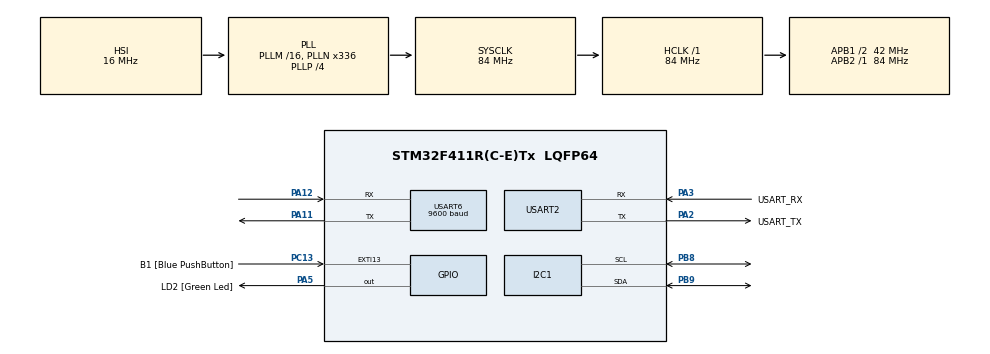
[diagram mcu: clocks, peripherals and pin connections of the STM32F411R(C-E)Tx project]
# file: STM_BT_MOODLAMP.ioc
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Mcu.Family=STM32F4
Mcu.Name=STM32F411R(C-E)Tx
Mcu.Package=LQFP64
NVIC.PriorityGroup=NVIC_PRIORITYGROUP_0
NVIC.TIM1_UP_TIM10_IRQn=true\:0\:0\:false\:false\:true\:true\:true\:true
NVIC.USART2_IRQn=true\:0\:0\:false\:false\:true\:true\:true\:true
NVIC.USART6_IRQn=true\:0\:0\:false\:false\:true\:true\:true\:true
PA11.Mode=Asynchronous
PA11.Signal=USART6_TX
PA12.Mode=Asynchronous
PA12.Signal=USART6_RX
PA13.GPIO_Label=TMS
PA13.Mode=Serial_Wire
PA13.Signal=SYS_JTMS-SWDIO
PA14.GPIO_Label=TCK
PA14.Mode=Serial_Wire
PA14.Signal=SYS_JTCK-SWCLK
PA2.GPIO_Label=USART_TX
PA2.Mode=Asynchronous
PA2.Signal=USART2_TX
PA3.GPIO_Label=USART_RX
PA3.Mode=Asynchronous
PA3.Signal=USART2_RX
PA5.GPIO_Label=LD2 [Green Led]
PA5.Signal=GPIO_Output
PB3.GPIO_Label=SWO
PB3.Signal=SYS_JTDO-SWO
PB8.Mode=I2C
PB8.Signal=I2C1_SCL
PB9.Mode=I2C
PB9.Signal=I2C1_SDA
PC13-ANTI_TAMP.GPIO_Label=B1 [Blue PushButton]
PC13-ANTI_TAMP.GPIO_ModeDefaultEXTI=GPIO_MODE_IT_FALLING
PC13-ANTI_TAMP.Signal=GPXTI13
PC14-OSC32_IN.Mode=LSE-External-Oscillator
PC14-OSC32_IN.Signal=RCC_OSC32_IN
PC15-OSC32_OUT.Mode=LSE-External-Oscillator
PC15-OSC32_OUT.Signal=RCC_OSC32_OUT
PH0\ -\ OSC_IN.Mode=HSE-External-Clock-Source
PH0\ -\ OSC_IN.Signal=RCC_OSC_IN
PH1\ -\ OSC_OUT.Mode=HSE-External-Clock-Source
PH1\ -\ OSC_OUT.Signal=RCC_OSC_OUT
ProjectManager.HeapSize=0x200
ProjectManager.StackSize=0x400
ProjectManager.TargetToolchain=STM32CubeIDE
RCC.48MHZClocksFreq_Value=84000000
RCC.AHBFreq_Value=84000000
RCC.APB1CLKDivider=RCC_HCLK_DIV2
RCC.APB1Freq_Value=42000000
RCC.APB1TimFreq_Value=84000000
RCC.APB2Freq_Value=84000000
RCC.APB2TimFreq_Value=84000000
RCC.CortexFreq_Value=84000000
RCC.FLatency-AdvancedSettings=FLASH_LATENCY_2
RCC.HCLKFreq_Value=84000000
RCC.HSE_VALUE=8000000
RCC.HSI_VALUE=16000000
RCC.PLLN=336
RCC.PLLP=RCC_PLLP_DIV4
RCC.SYSCLKFreq_VALUE=84000000
RCC.SYSCLKSource=RCC_SYSCLKSOURCE_PLLCLK
RCC.VCOOutputFreq_Value=336000000
TIM1.Period=9999
TIM1.Prescaler=8399
USART2.VirtualMode=VM_ASYNC
USART6.BaudRate=9600
USART6.VirtualMode=VM_ASYNC
VP_RTC_VS_RTC_Activate.Mode=RTC_Enabled
VP_TIM1_VS_ClockSourceINT.Mode=Internal
board=NUCLEO-F411RE

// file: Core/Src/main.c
/* USER CODE BEGIN Header */
/**
  ******************************************************************************
  * @file           : main.c
  * @brief          : Main program body
  ******************************************************************************
  * @attention
  *
  * Copyright (c) 2025 STMicroelectronics.
  * All rights reserved.
  *
  * This software is licensed under terms that can be found in the LICENSE file
  * in the root directory of this software component.
  * If no LICENSE file comes with this software, it is provided AS-IS.
  *
  ******************************************************************************
  */
/* USER CODE END Header */
#include "main.h"
#include "i2c.h"
#include "rtc.h"
#include "tim.h"
#include "usart.h"
#include "gpio.h"

/* USER CODE BEGIN Includes */
#include "my_1602.h"
#include <stdio.h>
#include <string.h>
#include "stdlib.h"
/* USER CODE END Includes */

/* USER CODE BEGIN PD */
#ifdef __GNUC__
/* With GCC, small printf (option LD Linker->Libraries->Small printf
   set to 'Yes') calls __io_putchar() */
#define PUTCHAR_PROTOTYPE int __io_putchar(int ch)
#else
#define PUTCHAR_PROTOTYPE int fputc(int ch, FILE *f)
#endif /* __GNUC__ */
#define ARR_CNT 7
#define CMD_SIZE 50
#define GETWEATHER 60//1분에 한번 GETWEATHER 송신
#define GETTIME 60 // 1분에 한번 GETTIME 송신
#define LCDTEXTSUN 5
#define LCDTEXTTIME 2
#define LCDTEXTOTHER 1
#define LCDTEMP_WEATH (LCDTEXTSUN + LCDTEXTTIME + LCDTEXTTIME + LCDTEXTOTHER + LCDTEXTOTHER)
#define LCDTEMP_WEATH_VALUE (LCDTEMP_WEATH + 2)

#define GETSUNFLAG  (1 << 0)
#define WEATHERFLAG (1 << 1)
#define GETTIMEFLAG (1 << 2)

#define TEMPFLAG1  	(1 << 3)
#define TEMPFLAG2 	(1 << 4)
#define TEMPFLAG3 	(1 << 5)
#define TEMPFLAG4  	(1 << 6)
#define TEMPFLAG5	(1 << 7)

#define ADDFLAG(b,a)   (b |= (a))   // 플래그 set
#define CLEARFLAG(b,a) (b &= ~(a))  // 플래그 clear
#define CHECKFLAG(b,a) (b & (a))    // 플래그 확인

/* USER CODE END PD */

/* USER CODE BEGIN PV */
uint8_t rx2char;
volatile unsigned char rx2Flag = 0;
volatile char rx2Data[50];
volatile unsigned char btFlag = 0;
uint8_t btchar;
char btData[50];
volatile uint16_t weatherCounter = 0;
volatile uint16_t timeCounter =0;
uint8_t sunSentToday = 0; // 0: GETSUN 안보냄, 1: 이미 보냄
volatile uint8_t sunsetTime = -1;
volatile uint8_t sunsetMin = -1;
volatile uint8_t sunriseTime = -1;
volatile uint8_t sunriseMin = -1;
volatile uint8_t flag = 0;
RTC_TimeTypeDef sTime;
/* USER CODE END PV */

void SystemClock_Config(void);
/* USER CODE BEGIN PFP */
void bluetooth_Event();
/* USER CODE END PFP */

/* USER CODE BEGIN 0 */
// --------------------------- Custom Char Start
uint8_t rainChar[8] = {
	0b00100,
	0b00100,
	0b01010,
	0b01010,
	0b10001,
	0b10001,
	0b01110,
	0b00000
};

uint8_t snowChar[8] = {
  0b00000,
  0b00100,
  0b10101,
  0b01110,
  0b10101,
  0b00100,
  0b00000,
  0b00000
};

uint8_t cloudChar[8] = {
  0b00000,
  0b00000,
  0b00110,
  0b11111,
  0b11111,
  0b01110,
  0b00000,
  0b00000
};

uint8_t fogChar[8] = {
  0b00000,
  0b11111,
  0b00000,
  0b11111,
  0b00000,
  0b11111,
  0b00000,
  0b00000
};

uint8_t sunChar[8] = {
  0b00100,
  0b10101,
  0b01110,
  0b11111,
  0b01110,
  0b10101,
  0b00100,
  0b00000
};
uint8_t moonChar[8] = {
  0b00110,
  0b01100,
  0b01100,
  0b01100,
  0b01100,
  0b00110,
  0b00000,
  0b00000
};
// ---------------------------- Custom Char End
/* USER CODE END 0 */

int main(void)
{

  /* MCU Configuration--------------------------------------------------------*/

  /* Reset of all peripherals, Initializes the Flash interface and the Systick. */
  HAL_Init();

  /* Configure the system clock */
  SystemClock_Config();

  /* Initialize all configured peripherals */
  MX_GPIO_Init();
  MX_USART2_UART_Init();
  MX_USART6_UART_Init();
  MX_I2C1_Init();
  MX_TIM1_Init();
  MX_RTC_Init();
  /* USER CODE BEGIN 2 */
  HAL_UART_Receive_IT(&huart2, &rx2char,1);
  HAL_UART_Receive_IT(&huart6, &btchar,1);
  printf("start main2()\r\n");
  HAL_TIM_Base_Start_IT(&htim1);
  // -------------------------------------------LCD INIT START
  HAL_Delay(1000); // imsi
  lcd_init(&hi2c1);
  HAL_Delay(1000);
  lcd_create_char(0, sunChar);
  lcd_create_char(1, cloudChar);
  lcd_create_char(2, fogChar);
  lcd_create_char(3, rainChar);
  lcd_create_char(4, snowChar);
  lcd_create_char(5, moonChar);

  lcd_set_cursor(0,0);
  lcd_send_string("Rise:");
  lcd_set_cursor(1, 0);
  lcd_send_string("set :");

  ADDFLAG(flag, WEATHERFLAG);
  ADDFLAG(flag, GETSUNFLAG);

  char sendBuf[CMD_SIZE]={0};
  sprintf(sendBuf,"[LDH_SUN]GETTIME\n");
  HAL_UART_Transmit(&huart6, (uint8_t *)sendBuf, strlen(sendBuf), 0xFFFF);
  HAL_Delay(100);
  // -------------------------------------------LCD INIT END

  /* USER CODE END 2 */

  /* Infinite loop */
  while (1)
  {

    /* USER CODE BEGIN 3 */
	 /*
	 for(int i =0 ; i < 6; i++)
	  {
		  lcd_set_cursor(0, 0);
		  lcd_replace_char(0,0,1,i);
		  HAL_Delay(1000);

	  }
	  */
	  if(rx2Flag)
	  {
			printf("recv2 : %s\r\n",rx2Data);
			rx2Flag =0;
	//	    HAL_UART_Transmit(&huart6, (uint8_t *)buf, strlen(buf), 0xFFFF);
	  }
	  if(btFlag)
	  {
//		printf("bt : %s\r\n",btData);
			btFlag =0;
			bluetooth_Event();
	  }

	  if(CHECKFLAG(flag, GETSUNFLAG)){
		  sprintf(sendBuf,"[LDH_SUN]GETSUN\n");
		  HAL_UART_Transmit(&huart6, (uint8_t *)sendBuf, strlen(sendBuf), 0xFFFF);
		  CLEARFLAG(flag, GETSUNFLAG);
		  HAL_Delay(100);
	  }
	  else if(CHECKFLAG(flag, GETTIMEFLAG)){
		  sprintf(sendBuf,"[LDH_SUN]GETTIME\n");
		  HAL_UART_Transmit(&huart6, (uint8_t *)sendBuf, strlen(sendBuf), 0xFFFF);
		  HAL_Delay(100);
		  CLEARFLAG(flag, GETTIMEFLAG);
	  }
	  else if(CHECKFLAG(flag, WEATHERFLAG)){
		  sprintf(sendBuf,"[LDH_SUN]GETWEATHER\n");
		  HAL_UART_Transmit(&huart6, (uint8_t *)sendBuf, strlen(sendBuf), 0xFFFF);
		  HAL_Delay(100);
		  CLEARFLAG(flag, WEATHERFLAG);
	  }

  }
  /* USER CODE END 3 */
}

void SystemClock_Config(void)
{
  RCC_OscInitTypeDef RCC_OscInitStruct = {0};
  RCC_ClkInitTypeDef RCC_ClkInitStruct = {0};

  /** Configure the main internal regulator output voltage
  */
  __HAL_RCC_PWR_CLK_ENABLE();
  __HAL_PWR_VOLTAGESCALING_CONFIG(PWR_REGULATOR_VOLTAGE_SCALE1);

  /** Initializes the RCC Oscillators according to the specified parameters
  * in the RCC_OscInitTypeDef structure.
  */
  RCC_OscInitStruct.OscillatorType = RCC_OSCILLATORTYPE_HSI|RCC_OSCILLATORTYPE_LSI;
  RCC_OscInitStruct.HSIState = RCC_HSI_ON;
  RCC_OscInitStruct.HSICalibrationValue = RCC_HSICALIBRATION_DEFAULT;
  RCC_OscInitStruct.LSIState = RCC_LSI_ON;
  RCC_OscInitStruct.PLL.PLLState = RCC_PLL_ON;
  RCC_OscInitStruct.PLL.PLLSource = RCC_PLLSOURCE_HSI;
  RCC_OscInitStruct.PLL.PLLM = 16;
  RCC_OscInitStruct.PLL.PLLN = 336;
  RCC_OscInitStruct.PLL.PLLP = RCC_PLLP_DIV4;
  RCC_OscInitStruct.PLL.PLLQ = 4;
  if (HAL_RCC_OscConfig(&RCC_OscInitStruct) != HAL_OK)
  {
    Error_Handler();
  }

  /** Initializes the CPU, AHB and APB buses clocks
  */
  RCC_ClkInitStruct.ClockType = RCC_CLOCKTYPE_HCLK|RCC_CLOCKTYPE_SYSCLK
                              |RCC_CLOCKTYPE_PCLK1|RCC_CLOCKTYPE_PCLK2;
  RCC_ClkInitStruct.SYSCLKSource = RCC_SYSCLKSOURCE_PLLCLK;
  RCC_ClkInitStruct.AHBCLKDivider = RCC_SYSCLK_DIV1;
  RCC_ClkInitStruct.APB1CLKDivider = RCC_HCLK_DIV2;
  RCC_ClkInitStruct.APB2CLKDivider = RCC_HCLK_DIV1;

  if (HAL_RCC_ClockConfig(&RCC_ClkInitStruct, FLASH_LATENCY_2) != HAL_OK)
  {
    Error_Handler();
  }
}

/* USER CODE BEGIN 4 */
void bluetooth_Event()
{

  int i=0;
  char * pToken;
  char * pArray[ARR_CNT]={0};
  char recvBuf[CMD_SIZE]={0};
  char sendBuf[CMD_SIZE]={0};
  strcpy(recvBuf,btData);

  printf("%s\r\n",btData);

  pToken = strtok(recvBuf,"[@]");
  while(pToken != NULL)
  {
    pArray[i] =  pToken;
    if(++i >= ARR_CNT)
      break;
    pToken = strtok(NULL,"[@]");
  }
//  printf("pArray[0] : %s\r\n",pArray[0]);
//  printf("pArray[1] : %s\r\n",pArray[1]);
//  printf("pArray[2] : %s\r\n",pArray[2]);
  if(!strcmp(pArray[1],"GETWEATHER"))
  {
		  lcd_set_cursor(0, LCDTEMP_WEATH);
		  lcd_send_string("T:");
		  lcd_set_cursor(0,LCDTEMP_WEATH_VALUE);
		  lcd_send_string(pArray[3]);

		  lcd_set_cursor(1, LCDTEMP_WEATH);
		  lcd_send_string("W:");

		  lcd_set_cursor(1,LCDTEMP_WEATH_VALUE);

		  RTC_DateTypeDef sDate;
		  HAL_RTC_GetTime(&hrtc, &sTime, RTC_FORMAT_BIN);
		  HAL_RTC_GetDate(&hrtc, &sDate, RTC_FORMAT_BIN);
		  if(((sunriseTime >= sTime.Hours) && (sunriseMin > sTime.Minutes)) ||
		     ((sunsetTime <= sTime.Hours)  && (sunsetMin < sTime.Minutes))  ){

			  lcd_replace_char(1,LCDTEMP_WEATH_VALUE , LCDTEMP_WEATH_VALUE+1, 5);
		  }
		  else
			  lcd_replace_char(1,LCDTEMP_WEATH_VALUE , LCDTEMP_WEATH_VALUE+1, (uint8_t)atoi(pArray[2]));

		  //printf("firstgetsun %d %d %d",sTime.Minutes, sTime.Hours,atoi(pArray[2]));

  }
  if(!strcmp(pArray[1],"GETSUN"))
  {
	  for(int i = 0; i < 2;i++){

		  lcd_set_cursor(i, LCDTEXTSUN);
		  lcd_send_string(pArray[2+2*i]);
		  lcd_set_cursor(i,LCDTEXTSUN+LCDTEXTTIME);
		  lcd_send_string(":");
		  lcd_set_cursor(i,LCDTEXTSUN+LCDTEXTTIME+LCDTEXTOTHER);
		  lcd_send_string(pArray[3+2*i]);
	  }

	  sunriseTime = atoi(pArray[2]);
	  sunriseMin = atoi(pArray[3]);
	  sunsetTime = atoi(pArray[4]);
	  sunsetMin = atoi(pArray[5]);
  }
  if(!strcmp(pArray[1],"GETTIME"))
  {
	  sTime.Hours = atoi(pArray[2]);
	  sTime.Minutes = atoi(pArray[3]);
	  sTime.Seconds = atoi(pArray[4]);
	  HAL_RTC_SetTime(&hrtc, &sTime, RTC_FORMAT_BIN);
	  //printf("current hours : %d\n", sTime.Hours);
  }

}
/**
  * @brief  Retargets the C library printf function to the USART.
  * @param  None
  * @retval None
  */
PUTCHAR_PROTOTYPE
{
  /* Place your implementation of fputc here */
  /* e.g. write a character to the USART6 and Loop until the end of transmission */
  HAL_UART_Transmit(&huart2, (uint8_t *)&ch, 1, 0xFFFF);

  return ch;
}
void HAL_UART_RxCpltCallback(UART_HandleTypeDef *huart)
{
    if(huart->Instance == USART2)
    {
    	static int i=0;
    	rx2Data[i] = rx2char;
    	if((rx2Data[i] == '\r')||(btData[i] == '\n'))
    	{
    		rx2Data[i] = '\0';
    		rx2Flag = 1;
    		i = 0;
    	}
    	else
    	{
    		i++;
    	}
    	HAL_UART_Receive_IT(&huart2, &rx2char,1);
    }
    if(huart->Instance == USART6)
    {
    	static int i=0;
    	btData[i] = btchar;
    	if((btData[i] == '\n') || btData[i] == '\r')
    	{
    		btData[i] = '\0';
    		btFlag = 1;
    		i = 0;
    	}
    	else
    	{
    		i++;
    	}
    	HAL_UART_Receive_IT(&huart6, &btchar,1);
    }
}

void HAL_TIM_PeriodElapsedCallback(TIM_HandleTypeDef *htim)
{
    if(htim->Instance == TIM1)
    {
        weatherCounter++;
        if(weatherCounter >= GETWEATHER) // 600초 = 10분
        {
            weatherCounter = 0;
            ADDFLAG(flag, WEATHERFLAG);
        	timeCounter =0;
        	ADDFLAG(flag, GETTIMEFLAG);
        }

        if(timeCounter >= GETTIME)
        {

        }

        if(sTime.Hours == 0 && sTime.Minutes == 0 && sunSentToday == 0)
        {
        	ADDFLAG(flag, GETSUNFLAG);
        	sunSentToday = 1;
        }
        if(sTime.Hours != 0 || sTime.Minutes != 0)
        {
        	sunSentToday = 0;
        }
    }
}
/* USER CODE END 4 */

void Error_Handler(void)
{
  __disable_irq();
  while (1)
  {
  }
}
